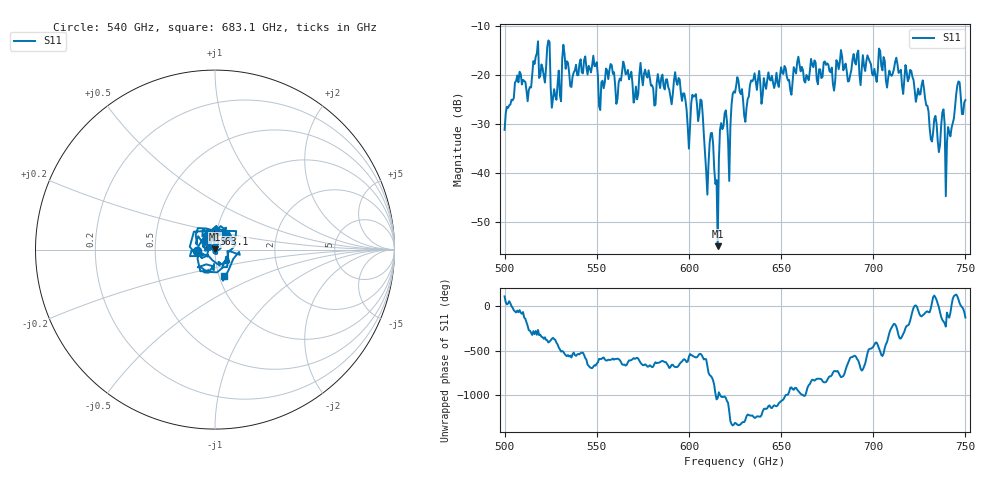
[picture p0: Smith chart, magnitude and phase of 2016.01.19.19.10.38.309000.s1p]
!Created with skrf (http://scikit-rf.org).
# GHz S RI R 50.0
!freq ReS11 ImS11
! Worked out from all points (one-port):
!   401 points, 500 GHz to 750 GHz, reference 50 ohm
!   lowest |S11| = -54.9 dB at 615.6 GHz (marker M1), VSWR 1.00, Z = 50.1 + j0.136 ohm
!   |S11| at or under -10 dB: start of sweep to end of sweep
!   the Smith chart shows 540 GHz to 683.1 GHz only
!   S11 on the Smith chart (normalised r, x): 540 GHz: 0.82, -0.02; 563.1 GHz: 0.97, +0.17; 683.1 GHz: 1.06, -0.31
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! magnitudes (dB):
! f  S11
! 500 GHz  -31.2
! 513.1 GHz  -23.1
! 516.9 GHz  -16.3
! 523.8 GHz  -13.0
! 526.9 GHz  -22.9
! 531.2 GHz  -16.7
! 540 GHz  -20.1
! 562.5 GHz  -20.8
! 563.1 GHz  -21.2
! 593.8 GHz  -22.0
! 599.4 GHz  -30.7
! 602.5 GHz  -24.5
! 606.9 GHz  -25.3
! 609.4 GHz  -39.7
! 612.5 GHz  -31.8
! 615.6 GHz  -54.9
! 618.1 GHz  -31.1
! 621.9 GHz  -41.6
! 625 GHz  -23.6
! 630.6 GHz  -29.6
! 635 GHz  -20.9
! 656.2 GHz  -21.4
! 683.1 GHz  -16.3
! 687.5 GHz  -20.0
! 718.8 GHz  -21.3
! 740.6 GHz  -30.6
! 745.6 GHz  -22.1
! 750 GHz  -25.1
